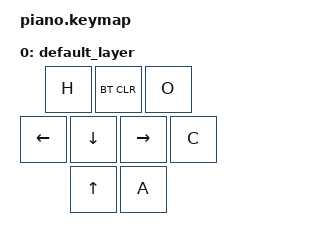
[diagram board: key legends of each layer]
/*
 * Copyright (c) 2021 Nick Winans
 *
 * SPDX-License-Identifier: MIT
 */

#include <behaviors.dtsi>
#include <dt-bindings/zmk/keys.h>
#include <dt-bindings/zmk/rgb.h>
#include <dt-bindings/zmk/bt.h>

/ {
	keymap {
		compatible = "zmk,keymap";
		
		default_layer {
//         0	   1	  	2
//         3		 4	 	  5 	 6
//   7 	 8
		bindings = <
		 		&kp H 	&bt BT_CLR    	&kp O	  
		    &kp LEFT    	&kp DOWN   		&kp RIGHT 	&kp C
		&kp UP	&kp A	 	
		>;
		};
	};
};

